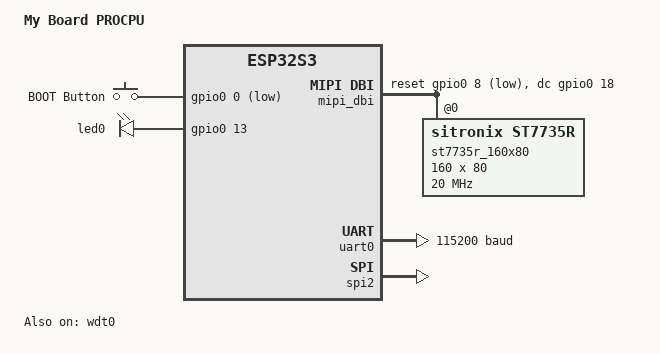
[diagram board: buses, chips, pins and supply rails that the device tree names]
/dts-v1/;

#include "espressif/esp32s3/esp32s3_wroom_n8.dtsi"
#include "my_board-pinctrl.dtsi"
#include <zephyr/dt-bindings/input/input-event-codes.h>
#include <espressif/partitions_0x0_amp.dtsi>
#include <zephyr/dt-bindings/mipi_dbi/mipi_dbi.h>

/ {
	model = "My Board PROCPU";
	compatible = "espressif,esp32s3";

	aliases {
		watchdog0 = &wdt0;
		led-0 = &led0;
	};

	chosen {
		zephyr,sram = &sram0;
		zephyr,console = &uart0;
		zephyr,shell-uart = &uart0;
		zephyr,flash = &flash0;
		zephyr,code-partition = &slot0_partition;
		zephyr,display = &st7735r_160x80;
	};

	aliases {
		uart-0 = &uart0;
		sw0 = &button0;
	};

	buttons {
		compatible = "gpio-keys";
		button0: button_0 {
			gpios = <&gpio0 0 (GPIO_PULL_UP | GPIO_ACTIVE_LOW)>;
			label = "BOOT Button";
			zephyr,code = <INPUT_KEY_0>;
		};
	};

	leds {
        compatible = "gpio-leds";
        led0: d13 {
            gpios = <&gpio0 13 GPIO_ACTIVE_HIGH>;
        };
    };

	mipi_dbi {
		compatible = "zephyr,mipi-dbi-spi";
		spi-dev = <&spi2>;
		dc-gpios = <&gpio0 18 GPIO_ACTIVE_HIGH>;
        reset-gpios = <&gpio0 8 GPIO_ACTIVE_LOW>;
		#address-cells = <1>;
		#size-cells = <0>;

		st7735r_160x80: st7735r@0 {
			compatible = "sitronix,st7735r";
            reg = <0>;
			mipi-max-frequency = <20000000>;
			mipi-mode = <MIPI_DBI_MODE_SPI_4WIRE>;
			width = <160>;
			height = <80>;
			inversion-on;
			rgb-is-inverted; 
			x-offset = <1>;
			y-offset = <26>;
			pwctr1 = [A2 02 84];
			pwctr2 = [C5];
			pwctr3 = [0A 00];
			pwctr4 = [8A 2A];
			pwctr5 = [8A EE];
			invctr = <7>;
			frmctr1 = [01 2C 2D];
			frmctr2 = [01 2C 2D];
			frmctr3 = [01 2C 2D 01 2C 2D];
			vmctr1 = <14>;
			gamctrp1 = [02 1C 07 12 37 32 29 2D 29 25 2B 39 00 01 03 10];
			gamctrn1 = [03 1D 07 06 2E 2C 29 2D 2E 2E 37 3F 00 00 02 10];
			colmod = <5>;
			/* Set D3 (RGB) bit to 1. LV_COLOR_16_SWAP is enabled by default */
			madctl = <184>; /* Set to <184> to rotate the image 180 degrees. */
			caset = [00 01 00 a0];
			raset = [00 1a 00 69];
		};
	};
};

&uart0 {
	status = "okay";
	current-speed = <115200>;
	pinctrl-0 = <&uart0_default>;
	pinctrl-names = "default";
};

&gpio0 {
	status = "okay";
};


&wdt0 {
	status = "okay";
};

&spi2 {
	#address-cells = <1>;
	#size-cells = <0>;
	status = "okay";
	pinctrl-0 = <&spi2_custom_pins>;
	pinctrl-names = "default";
};
